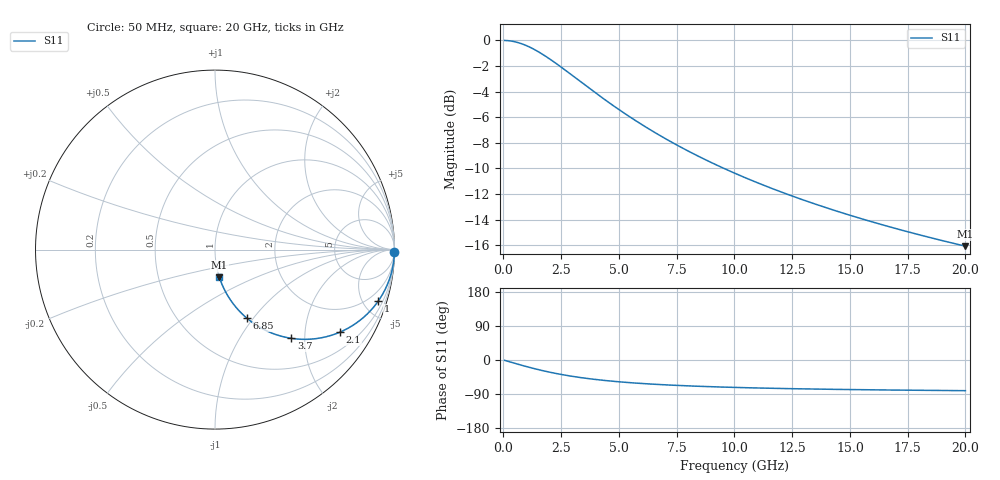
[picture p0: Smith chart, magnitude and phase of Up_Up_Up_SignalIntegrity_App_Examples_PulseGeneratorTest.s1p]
# MHz MA S R 50.0
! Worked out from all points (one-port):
!   400 points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, 50 MHz to 20 GHz, reference 50 ohm
!   lowest |S11| = -16.1 dB at 20 GHz (marker M1), VSWR 1.37, Z = 50 - j15.9 ohm
!   |S11| at or under -10 dB: 9.549 GHz to end of sweep
!   S11 on the Smith chart (normalised r, x): 50 MHz: open; 1 GHz: 1.00, -6.37; 2.1 GHz: 1.00, -3.03; 3.7 GHz: 1.00, -1.72; 6.85 GHz: 1.00, -0.93; 20 GHz: 1.00, -0.32
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50  0.9999 -0.9
250  0.9969 -4.5
500  0.9879 -8.9
750  0.9733 -13.3
1000  0.954 -17.4
1300  0.9258 -22.2
1550  0.8991 -26.0
1800  0.8705 -29.5
2100  0.8347 -33.4
2300  0.8105 -35.9
2550  0.7804 -38.7
2800  0.7508 -41.3
3100  0.7164 -44.2
3700  0.6522 -49.3
4000  0.6227 -51.5
4350  0.5905 -53.8
5050  0.5332 -57.8
5450  0.5043 -59.7
5900  0.4748 -61.7
6850  0.4214 -65.1
7550  0.3885 -67.1
8700  0.3436 -69.9
10050  0.3019 -72.4
11200  0.2734 -74.1
12550  0.2458 -75.8
15050  0.2069 -78.1
17550  0.1785 -79.7
20000  0.1572 -81.0
